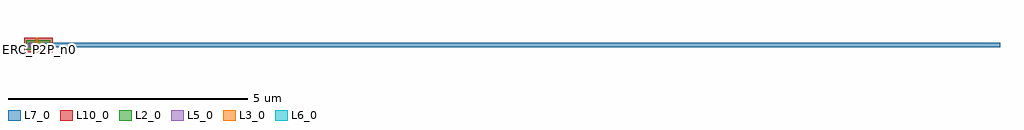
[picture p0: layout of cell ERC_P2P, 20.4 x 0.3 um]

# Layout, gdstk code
import gdstk
lib = gdstk.Library(unit=1e-6, precision=1e-09)
def R(c, l, rs):  # rectangles x0, y0, x1, y1
    for r in rs: c.add(gdstk.rectangle(r[:2], r[2:], *l))
L2_0 = (2, 0)
L3_0 = (3, 0)
L5_0 = (5, 0)
L6_0 = (6, 0)
L7_0 = (7, 0)
L10_0 = (10, 0)

erc_p2p = lib.new_cell('ERC_P2P')
R(erc_p2p, L2_0, [(0,0,0.5,0.2)])
R(erc_p2p, L3_0, [(0.2,-0.05,0.25,0.25)])
R(erc_p2p, L5_0, [(0.05,0.05,0.15,0.15), (0.35,0.05,0.45,0.15)])
R(erc_p2p, L6_0, [(0.36,0.06,0.44,0.14)])
R(erc_p2p, L7_0, [(0.35,0.05,20.35,0.15)])
R(erc_p2p, L10_0, [(-0.05,-0.05,0.55,0.25)])
erc_p2p.add(gdstk.Label('ERC_P2P_n0', (0,0), layer=2, texttype=5))
erc_p2p.add(gdstk.Label('ERC_P2P_n1', (0.05,0.05), layer=5, texttype=5))
erc_p2p.add(gdstk.Label('ERC_P2P_n2', (0.35,0.05), layer=5, texttype=5))
erc_p2p.add(gdstk.Label('ERC_P2P_n3', (0.2,-0.05), layer=3, texttype=5))

lib.write_gds('ERC_P2P.gds')
